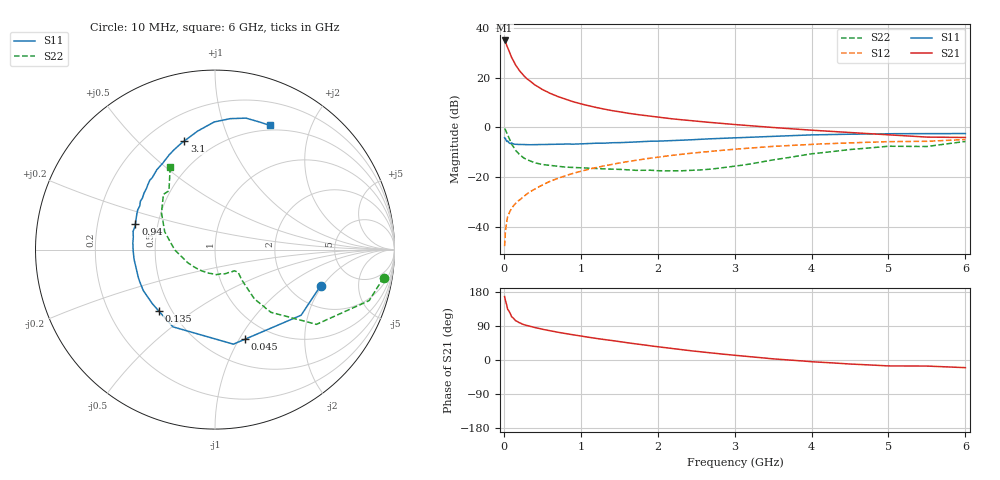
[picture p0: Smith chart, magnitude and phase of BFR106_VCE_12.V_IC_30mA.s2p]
! Infineon Technologies  Discrete & RF Semiconductors
! BFR106
! VCE =  12. V,  IC =  30 mA
! Common Emitter S-Parameters:  Nov 2015
# GHz  S  MA  R  50
!  f  S11  S21  S12  S22
! GHz  MAG  ANG  MAG  ANG  MAG  ANG  MAG  ANG
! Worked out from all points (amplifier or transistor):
!   210 points, 10 MHz to 6 GHz, reference 50 ohm
!   highest |S21| = 34.9 dB at 10 MHz (marker M1)
!   |S21| within 3 dB of that: start of sweep to 51.29 MHz
!   unconditionally stable (mu >= 1): 355.7 MHz to 2.182 GHz
!   at 185 MHz: K = 0.82, MSG = 26.6 dB, |S12| = -29.5 dB
!   at 1.52 GHz: K = 1.06, MAG = 8.7 dB, |S12| = -14.1 dB
!   at 6 GHz: K = 0.98, MSG = 0.4 dB, |S12| = -4.8 dB
!   S11 on the Smith chart (normalised r, x): 10 MHz: 2.91, -1.92; 45 MHz: 0.76, -1.06; 135 MHz: 0.43, -0.37; 940 MHz: 0.37, +0.14; 3.1 GHz: 0.35, +0.70; 6 GHz: 0.44, +1.44
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0.01  0.6218 -19.0  55.32 167.3  0.0042 81.9  0.9524 -9.4
0.02  0.6032 -37.3  52.15 157.3  0.0081 74.0  0.9048 -18.3
0.045  0.5266 -71.7  41.08 138.6  0.0151 62.3  0.7298 -32.7
0.05  0.5367 -79.0  39.57 133.7  0.0165 61.2  0.702 -36.4
0.1  0.4901 -118.6  25.43 114.4  0.024 57.2  0.4679 -48.3
0.135  0.4635 -132.7  20.16 108.0  0.0281 57.1  0.3863 -50.3
0.15  0.4613 -139.1  18.02 104.1  0.0299 57.1  0.3515 -51.4
0.2  0.4601 -150.3  13.96 98.5  0.0349 60.6  0.2909 -50.4
0.24  0.4559 -157.1  11.78 94.9  0.0395 61.6  0.2575 -49.5
0.3  0.4518 -164.3  9.447 90.8  0.0467 64.4  0.2272 -48.6
0.4  0.454 -173.0  7.179 85.7  0.0582 66.5  0.1969 -46.1
0.5  0.456 -179.2  5.765 81.1  0.0702 68.1  0.1815 -44.7
0.6  0.459 175.5  4.843 77.0  0.0834 68.1  0.1739 -45.1
0.8  0.4677 167.5  3.674 69.8  0.1081 67.8  0.1609 -47.4
0.94  0.4659 162.1  3.158 65.3  0.1254 67.0  0.1573 -49.7
1.02  0.4711 158.9  2.922 62.7  0.1353 66.5  0.1559 -52.0
1.4  0.4955 147.0  2.184 51.5  0.1819 62.9  0.1473 -64.2
2.02  0.5337 130.5  1.6 34.5  0.2566 55.4  0.136 -93.5
3.1  0.6285 105.8  1.115 10.6  0.3769 40.6  0.1758 -160.2
4.1  0.7148 89.0  0.864 -5.6  0.4671 25.8  0.3082 157.0
5.1  0.752 75.4  0.699 -15.7  0.5221 12.4  0.42 132.0
6  0.7561 66.3  0.631 -20.2  0.5736 2.0  0.5245 118.4
